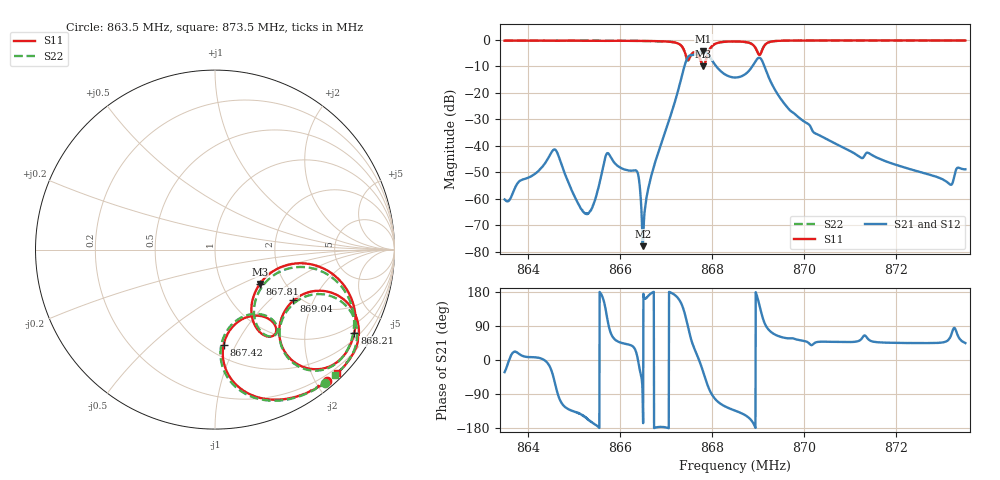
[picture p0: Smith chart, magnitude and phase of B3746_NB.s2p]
! Matrix data file written by TouchstoneData, EPCOS AG
! FILENAME: "B3746_NB.s2p"
! COMMENT: "S-Parameter B3746 Narrowband (unmatched)"
! INFO: nport=2, nfreq=1601
! DATE: "Tue Jul 22 10:54:14 2008"
! USER: "Thomas Telgmann"
! port | pin | signal
!  1  |  2  |  in
!  2  |  4  |  out
# MHZ S MA R 50
! freq  magS11 angS11  magS21 angS21  magS12 angS12  magS22 angS22
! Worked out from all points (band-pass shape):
!   1601 points, 863.5 MHz to 873.5 MHz, reference 50 ohm
!   highest |S21| = -4.27 dB at 867.81 MHz (marker M1); lowest = -77.9 dB at 866.5 MHz (marker M2)
!   |S21| within 3 dB of the highest: 867.4564 MHz to 867.9817 MHz (525.3 kHz wide, 0.0605 % of centre); 868.9806 MHz to 869.0662 MHz (85.53 kHz wide, 0.00984 % of centre)
!   lowest |S11| = -10.0 dB at 867.81 MHz (marker M3), VSWR 1.92, Z = 75.2 - j31.9 ohm
!   |S11| at or under -10 dB: 867.8077 MHz to 867.8204 MHz (12.66 kHz wide, 0.00146 % of centre)
!   |S22| runs from -9.5 to -0.3 dB; largest |S21 - S12| = 0.0011
!   S11 on the Smith chart (normalised r, x): 863.5 MHz: 0.11, -2.16; 867.42 MHz: 0.60, -0.89; 867.81 MHz: 1.50, -0.64; 868.21 MHz: 0.69, -3.50; 869.04 MHz: 1.84, -1.43; 873.5 MHz: 0.11, -2.39
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863.5  0.962 -49.6  0.0009695 -32.1  0.0009669 -32.5  0.9621 -50.4
864.5812  0.9545 -50.6  0.008518 -55.2  0.008504 -55.1  0.9554 -51.4
865.1688  0.9616 -51.6  0.0006291 -144.5  0.0006297 -143.8  0.9619 -52.4
865.3937  0.9606 -52.1  0.0006607 -164.0  0.0006573 -164.2  0.961 -52.9
865.7437  0.9529 -52.8  0.007233 98.8  0.007214 98.9  0.9536 -53.6
866.3625  0.9516 -55.5  0.003361 17.4  0.003364 17.5  0.9526 -56.3
866.5  0.9502 -56.3  0.000127 -133.2  0.0001222 -128.8  0.9509 -57.1
866.8375  0.9401 -60.0  0.007658 -176.9  0.007619 -176.8  0.9409 -60.8
867.2625  0.8525 -74.3  0.1079 163.4  0.1076 163.4  0.8532 -75.2
867.425  0.5348 -84.9  0.3667 115.4  0.3659 115.5  0.5256 -86.0
867.5438  0.5097 -51.6  0.5119 55.9  0.5113 56.0  0.5063 -50.7
867.8125  0.3146 -37.4  0.612 -32.3  0.6115 -32.3  0.334 -38.4
867.9937  0.7453 -15.5  0.4175 -90.1  0.4171 -90.0  0.7486 -17.1
868.2125  0.9039 -30.8  0.2456 -117.6  0.2453 -117.6  0.9042 -31.9
868.5  0.9292 -40.2  0.1938 -133.6  0.1934 -133.5  0.9296 -41.1
868.875  0.8199 -53.0  0.3135 -162.7  0.3129 -162.6  0.823 -53.5
869.0438  0.521 -32.9  0.4525 138.2  0.4519 138.3  0.5325 -34.0
869.2375  0.8991 -27.5  0.1905 78.9  0.1903 79.0  0.9 -28.7
870.1688  0.9657 -40.6  0.0201 39.4  0.02009 39.4  0.9659 -41.6
871.8375  0.9695 -44.1  0.004838 45.6  0.004841 45.8  0.9693 -44.9
873.1688  0.9683 -45.2  0.001857 59.7  0.00185 59.8  0.9683 -46.0
873.5  0.9683 -45.3  0.003587 44.7  0.00358 44.9  0.9682 -46.1
